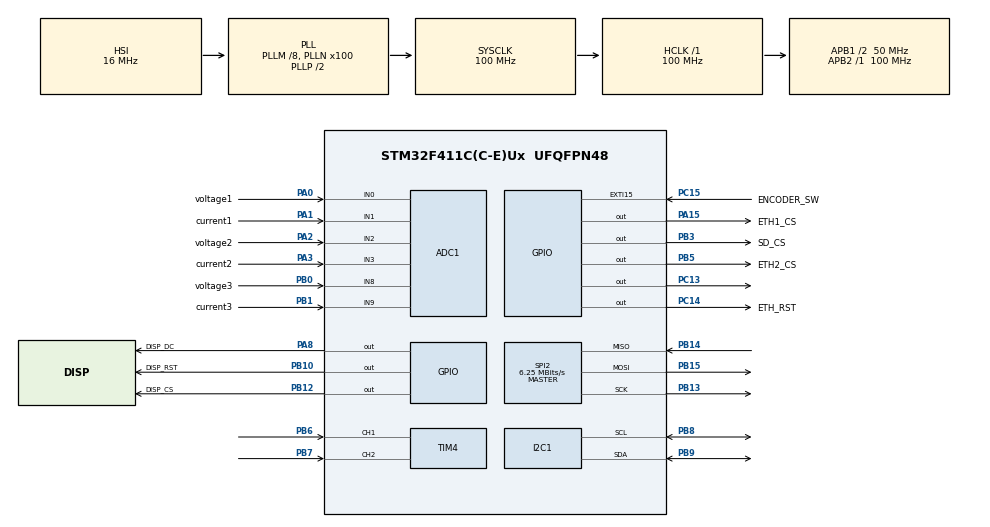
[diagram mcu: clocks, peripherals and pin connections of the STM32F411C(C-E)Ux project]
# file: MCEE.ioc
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ADC1.Channel-1\#ChannelRegularConversion=ADC_CHANNEL_0
ADC1.Channel-10\#ChannelRegularConversion=ADC_CHANNEL_9
ADC1.Channel-6\#ChannelRegularConversion=ADC_CHANNEL_1
ADC1.Channel-7\#ChannelRegularConversion=ADC_CHANNEL_2
ADC1.Channel-8\#ChannelRegularConversion=ADC_CHANNEL_3
ADC1.Channel-9\#ChannelRegularConversion=ADC_CHANNEL_8
ADC1.ContinuousConvMode=DISABLE
ADC1.DMAContinuousRequests=ENABLE
ADC1.ExternalTrigConv=ADC_EXTERNALTRIGCONV_T3_TRGO
ADC1.InjNumberOfConversion=0
ADC1.NbrOfConversion=6
ADC1.NbrOfConversionFlag=1
ADC1.Rank-1\#ChannelRegularConversion=1
ADC1.Rank-10\#ChannelRegularConversion=6
ADC1.Rank-6\#ChannelRegularConversion=2
ADC1.Rank-7\#ChannelRegularConversion=3
ADC1.Rank-8\#ChannelRegularConversion=4
ADC1.Rank-9\#ChannelRegularConversion=5
ADC1.SamplingTime-1\#ChannelRegularConversion=ADC_SAMPLETIME_84CYCLES
ADC1.SamplingTime-10\#ChannelRegularConversion=ADC_SAMPLETIME_84CYCLES
ADC1.SamplingTime-6\#ChannelRegularConversion=ADC_SAMPLETIME_84CYCLES
ADC1.SamplingTime-7\#ChannelRegularConversion=ADC_SAMPLETIME_84CYCLES
ADC1.SamplingTime-8\#ChannelRegularConversion=ADC_SAMPLETIME_84CYCLES
ADC1.SamplingTime-9\#ChannelRegularConversion=ADC_SAMPLETIME_84CYCLES
ADC1.ScanConvMode=ENABLE
ADC1.master=1
Dma.ADC1.0.Direction=DMA_PERIPH_TO_MEMORY
Dma.ADC1.0.FIFOMode=DMA_FIFOMODE_DISABLE
Dma.ADC1.0.Instance=DMA2_Stream0
Dma.ADC1.0.MemDataAlignment=DMA_MDATAALIGN_HALFWORD
Dma.ADC1.0.MemInc=DMA_MINC_ENABLE
Dma.ADC1.0.Mode=DMA_CIRCULAR
Dma.ADC1.0.PeriphDataAlignment=DMA_PDATAALIGN_HALFWORD
Dma.ADC1.0.PeriphInc=DMA_PINC_DISABLE
Dma.ADC1.0.Priority=DMA_PRIORITY_HIGH
Dma.Request0=ADC1
Dma.Request1=SPI2_TX
Dma.SPI2_TX.1.Direction=DMA_MEMORY_TO_PERIPH
Dma.SPI2_TX.1.FIFOMode=DMA_FIFOMODE_DISABLE
Dma.SPI2_TX.1.Instance=DMA1_Stream4
Dma.SPI2_TX.1.MemDataAlignment=DMA_MDATAALIGN_BYTE
Dma.SPI2_TX.1.MemInc=DMA_MINC_ENABLE
Dma.SPI2_TX.1.Mode=DMA_NORMAL
Dma.SPI2_TX.1.PeriphDataAlignment=DMA_PDATAALIGN_BYTE
Dma.SPI2_TX.1.PeriphInc=DMA_PINC_DISABLE
Dma.SPI2_TX.1.Priority=DMA_PRIORITY_HIGH
Mcu.Family=STM32F4
Mcu.Name=STM32F411C(C-E)Ux
Mcu.Package=UFQFPN48
NVIC.DMA1_Stream4_IRQn=true\:0\:0\:false\:false\:true\:false\:true\:true
NVIC.DMA2_Stream0_IRQn=true\:0\:0\:false\:false\:true\:false\:true\:true
NVIC.EXTI15_10_IRQn=true\:0\:0\:false\:false\:true\:true\:true\:true
NVIC.PriorityGroup=NVIC_PRIORITYGROUP_4
NVIC.SPI2_IRQn=true\:0\:0\:false\:false\:true\:true\:true\:true
PA0-WKUP.GPIO_Label=voltage1
PA0-WKUP.Signal=ADCx_IN0
PA1.GPIO_Label=current1
PA1.Signal=ADCx_IN1
PA13.Mode=Serial_Wire
PA13.Signal=SYS_JTMS-SWDIO
PA14.Mode=Serial_Wire
PA14.Signal=SYS_JTCK-SWCLK
PA15.GPIO_Label=ETH1_CS
PA15.PinState=GPIO_PIN_SET
PA15.Signal=GPIO_Output
PA2.GPIO_Label=voltage2
PA2.Signal=ADCx_IN2
PA3.GPIO_Label=current2
PA3.Signal=ADCx_IN3
PA8.GPIO_Label=DISP_DC
PA8.Signal=GPIO_Output
PB0.GPIO_Label=voltage3
PB0.Signal=ADCx_IN8
PB1.GPIO_Label=current3
PB1.Signal=ADCx_IN9
PB10.GPIO_Label=DISP_RST
PB10.PinState=GPIO_PIN_SET
PB10.Signal=GPIO_Output
PB12.GPIO_Label=DISP_CS
PB12.PinState=GPIO_PIN_SET
PB12.Signal=GPIO_Output
PB13.Mode=Full_Duplex_Master
PB13.Signal=SPI2_SCK
PB14.Mode=Full_Duplex_Master
PB14.Signal=SPI2_MISO
PB15.Mode=Full_Duplex_Master
PB15.Signal=SPI2_MOSI
PB3.GPIO_Label=SD_CS
PB3.PinState=GPIO_PIN_SET
PB3.Signal=GPIO_Output
PB5.GPIO_Label=ETH2_CS
PB5.PinState=GPIO_PIN_SET
PB5.Signal=GPIO_Output
PB6.GPIO_PuPd=GPIO_NOPULL
PB6.Signal=S_TIM4_CH1
PB7.GPIO_PuPd=GPIO_NOPULL
PB7.Signal=S_TIM4_CH2
PB8.Mode=I2C
PB8.Signal=I2C1_SCL
PB9.Mode=I2C
PB9.Signal=I2C1_SDA
PC13-ANTI_TAMP.Signal=GPIO_Output
PC14-OSC32_IN.GPIO_Label=ETH_RST
PC14-OSC32_IN.PinState=GPIO_PIN_SET
PC14-OSC32_IN.Signal=GPIO_Output
PC15-OSC32_OUT.GPIO_Label=ENCODER_SW
PC15-OSC32_OUT.GPIO_ModeDefaultEXTI=GPIO_MODE_IT_FALLING
PC15-OSC32_OUT.GPIO_PuPd=GPIO_PULLUP
PC15-OSC32_OUT.Signal=GPXTI15
PH0\ -\ OSC_IN.Mode=HSE-External-Oscillator
PH0\ -\ OSC_IN.Signal=RCC_OSC_IN
PH1\ -\ OSC_OUT.Mode=HSE-External-Oscillator
PH1\ -\ OSC_OUT.Signal=RCC_OSC_OUT
ProjectManager.HeapSize=0x400
ProjectManager.StackSize=0x2000
ProjectManager.TargetToolchain=STM32CubeIDE
RCC.48MHZClocksFreq_Value=50000000
RCC.AHBFreq_Value=100000000
RCC.APB1CLKDivider=RCC_HCLK_DIV2
RCC.APB1Freq_Value=50000000
RCC.APB1TimFreq_Value=100000000
RCC.APB2Freq_Value=100000000
RCC.APB2TimFreq_Value=100000000
RCC.CortexFreq_Value=100000000
RCC.HCLKFreq_Value=100000000
RCC.HSE_VALUE=25000000
RCC.HSI_VALUE=16000000
RCC.LSE_VALUE=32768
RCC.PLLM=8
RCC.PLLN=100
RCC.SYSCLKFreq_VALUE=100000000
RCC.SYSCLKSource=RCC_SYSCLKSOURCE_PLLCLK
RCC.VCOOutputFreq_Value=200000000
SH.ADCx_IN0.0=ADC1_IN0,IN0
SH.ADCx_IN1.0=ADC1_IN1,IN1
SH.ADCx_IN2.0=ADC1_IN2,IN2
SH.ADCx_IN3.0=ADC1_IN3,IN3
SH.ADCx_IN8.0=ADC1_IN8,IN8
SH.ADCx_IN9.0=ADC1_IN9,IN9
SH.S_TIM4_CH1.0=TIM4_CH1,Encoder_Interface
SH.S_TIM4_CH2.0=TIM4_CH2,Encoder_Interface
SPI2.BaudRatePrescaler=SPI_BAUDRATEPRESCALER_8
SPI2.CalculateBaudRate=6.25 MBits/s
SPI2.Direction=SPI_DIRECTION_2LINES
SPI2.Mode=SPI_MODE_MASTER
SPI2.VirtualType=VM_MASTER
TIM3.Period=199
TIM3.Prescaler=99
TIM3.TIM_MasterOutputTrigger=TIM_TRGO_UPDATE
TIM4.EncoderMode=TIM_ENCODERMODE_TI12
TIM4.IC1Filter=15
TIM4.IC2Filter=15
VP_TIM3_VS_ClockSourceINT.Mode=Internal
board=custom

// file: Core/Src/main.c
/* USER CODE BEGIN Header */
/**
  ******************************************************************************
  * @file           : main.c
  * @brief          : Main program body
  ******************************************************************************
  * @attention
  *
  * Copyright (c) 2026 STMicroelectronics.
  * All rights reserved.
  *
  * This software is licensed under terms that can be found in the LICENSE file
  * in the root directory of this software component.
  * If no LICENSE file comes with this software, it is provided AS-IS.
  *
  ******************************************************************************
  */
/* USER CODE END Header */
#include "main.h"

/* USER CODE BEGIN Includes */
#include "signals.h"
#include "acquisition.h"
#include "processing.h"
#include "encoder.h"
#include "lvgl/lvgl.h"
#include "lvgl_port.h"
#include "gui.h"
#include "sd_card.h"
#include "i2c_devices.h"
#include "settings.h"
#include "test_logger.h"
#include "splash.h"

/* USER CODE END Includes */

ADC_HandleTypeDef hadc1;
DMA_HandleTypeDef hdma_adc1;

I2C_HandleTypeDef hi2c1;

SPI_HandleTypeDef hspi2;
DMA_HandleTypeDef hdma_spi2_tx;

TIM_HandleTypeDef htim3;
TIM_HandleTypeDef htim4;

void SystemClock_Config(void);
static void MX_GPIO_Init(void);
static void MX_DMA_Init(void);
static void MX_ADC1_Init(void);
static void MX_TIM3_Init(void);
static void MX_I2C1_Init(void);
static void MX_SPI2_Init(void);
static void MX_TIM4_Init(void);

int main(void)
{

  /* MCU Configuration--------------------------------------------------------*/

  /* Reset of all peripherals, Initializes the Flash interface and the Systick. */
  HAL_Init();

  /* Configure the system clock */
  SystemClock_Config();

  /* Initialize all configured peripherals */
  MX_GPIO_Init();
  MX_DMA_Init();
  MX_ADC1_Init();
  MX_TIM3_Init();
  MX_I2C1_Init();
  MX_SPI2_Init();
  MX_TIM4_Init();
  /* USER CODE BEGIN 2 */
  Encoder_Init();
  LvglPort_Init();
  Splash_Show();
  Gui_Init();
  DS3231_Init();
  Settings_Init();
  Splash_Finish();
  TestLogger_Init();
  /* primera pantalla completa, antes de arrancar el ADC */
  lv_refr_now(NULL);

  __HAL_DBGMCU_FREEZE_TIM3();   /* el muestreo se detiene mientras el depurador pausa */
  HAL_TIM_Base_Start_IT(&htim3);
  HAL_ADC_Start_DMA(&hadc1, (uint32_t*)adc_buffer, ADC_CHANNELS * DMA_BUFFER_SAMPLES);
  /* USER CODE END 2 */

  /* Infinite loop */
  /* USER CODE BEGIN WHILE */
  while (1)
  {
	  ProcessPendingBuffers();
	  lv_timer_handler();
	  TestLogger_Process();
    /* USER CODE END WHILE */

  }
}

void SystemClock_Config(void)
{
  RCC_OscInitTypeDef RCC_OscInitStruct = {0};
  RCC_ClkInitTypeDef RCC_ClkInitStruct = {0};

  /** Configure the main internal regulator output voltage
  */
  __HAL_RCC_PWR_CLK_ENABLE();
  __HAL_PWR_VOLTAGESCALING_CONFIG(PWR_REGULATOR_VOLTAGE_SCALE1);

  /** Initializes the RCC Oscillators according to the specified parameters
  * in the RCC_OscInitTypeDef structure.
  */
  RCC_OscInitStruct.OscillatorType = RCC_OSCILLATORTYPE_HSI;
  RCC_OscInitStruct.HSIState = RCC_HSI_ON;
  RCC_OscInitStruct.HSICalibrationValue = RCC_HSICALIBRATION_DEFAULT;
  RCC_OscInitStruct.PLL.PLLState = RCC_PLL_ON;
  RCC_OscInitStruct.PLL.PLLSource = RCC_PLLSOURCE_HSI;
  RCC_OscInitStruct.PLL.PLLM = 8;
  RCC_OscInitStruct.PLL.PLLN = 100;
  RCC_OscInitStruct.PLL.PLLP = RCC_PLLP_DIV2;
  RCC_OscInitStruct.PLL.PLLQ = 4;
  if (HAL_RCC_OscConfig(&RCC_OscInitStruct) != HAL_OK)
  {
    Error_Handler();
  }

  /** Initializes the CPU, AHB and APB buses clocks
  */
  RCC_ClkInitStruct.ClockType = RCC_CLOCKTYPE_HCLK|RCC_CLOCKTYPE_SYSCLK
                              |RCC_CLOCKTYPE_PCLK1|RCC_CLOCKTYPE_PCLK2;
  RCC_ClkInitStruct.SYSCLKSource = RCC_SYSCLKSOURCE_PLLCLK;
  RCC_ClkInitStruct.AHBCLKDivider = RCC_SYSCLK_DIV1;
  RCC_ClkInitStruct.APB1CLKDivider = RCC_HCLK_DIV2;
  RCC_ClkInitStruct.APB2CLKDivider = RCC_HCLK_DIV1;

  if (HAL_RCC_ClockConfig(&RCC_ClkInitStruct, FLASH_LATENCY_3) != HAL_OK)
  {
    Error_Handler();
  }
}

static void MX_ADC1_Init(void)
{

  ADC_ChannelConfTypeDef sConfig = {0};

  /** Configure the global features of the ADC (Clock, Resolution, Data Alignment and number of conversion)
  */
  hadc1.Instance = ADC1;
  hadc1.Init.ClockPrescaler = ADC_CLOCK_SYNC_PCLK_DIV4;
  hadc1.Init.Resolution = ADC_RESOLUTION_12B;
  hadc1.Init.ScanConvMode = ENABLE;
  hadc1.Init.ContinuousConvMode = DISABLE;
  hadc1.Init.DiscontinuousConvMode = DISABLE;
  hadc1.Init.ExternalTrigConvEdge = ADC_EXTERNALTRIGCONVEDGE_RISING;
  hadc1.Init.ExternalTrigConv = ADC_EXTERNALTRIGCONV_T3_TRGO;
  hadc1.Init.DataAlign = ADC_DATAALIGN_RIGHT;
  hadc1.Init.NbrOfConversion = 6;
  hadc1.Init.DMAContinuousRequests = ENABLE;
  hadc1.Init.EOCSelection = ADC_EOC_SINGLE_CONV;
  if (HAL_ADC_Init(&hadc1) != HAL_OK)
  {
    Error_Handler();
  }

  /** Configure for the selected ADC regular channel its corresponding rank in the sequencer and its sample time.
  */
  sConfig.Channel = ADC_CHANNEL_0;
  sConfig.Rank = 1;
  sConfig.SamplingTime = ADC_SAMPLETIME_84CYCLES;
  if (HAL_ADC_ConfigChannel(&hadc1, &sConfig) != HAL_OK)
  {
    Error_Handler();
  }

  /** Configure for the selected ADC regular channel its corresponding rank in the sequencer and its sample time.
  */
  sConfig.Channel = ADC_CHANNEL_1;
  sConfig.Rank = 2;
  if (HAL_ADC_ConfigChannel(&hadc1, &sConfig) != HAL_OK)
  {
    Error_Handler();
  }

  /** Configure for the selected ADC regular channel its corresponding rank in the sequencer and its sample time.
  */
  sConfig.Channel = ADC_CHANNEL_2;
  sConfig.Rank = 3;
  if (HAL_ADC_ConfigChannel(&hadc1, &sConfig) != HAL_OK)
  {
    Error_Handler();
  }

  /** Configure for the selected ADC regular channel its corresponding rank in the sequencer and its sample time.
  */
  sConfig.Channel = ADC_CHANNEL_3;
  sConfig.Rank = 4;
  if (HAL_ADC_ConfigChannel(&hadc1, &sConfig) != HAL_OK)
  {
    Error_Handler();
  }

  /** Configure for the selected ADC regular channel its corresponding rank in the sequencer and its sample time.
  */
  sConfig.Channel = ADC_CHANNEL_8;
  sConfig.Rank = 5;
  if (HAL_ADC_ConfigChannel(&hadc1, &sConfig) != HAL_OK)
  {
    Error_Handler();
  }

  /** Configure for the selected ADC regular channel its corresponding rank in the sequencer and its sample time.
  */
  sConfig.Channel = ADC_CHANNEL_9;
  sConfig.Rank = 6;
  if (HAL_ADC_ConfigChannel(&hadc1, &sConfig) != HAL_OK)
  {
    Error_Handler();
  }

}

static void MX_I2C1_Init(void)
{

  hi2c1.Instance = I2C1;
  hi2c1.Init.ClockSpeed = 100000;
  hi2c1.Init.DutyCycle = I2C_DUTYCYCLE_2;
  hi2c1.Init.OwnAddress1 = 0;
  hi2c1.Init.AddressingMode = I2C_ADDRESSINGMODE_7BIT;
  hi2c1.Init.DualAddressMode = I2C_DUALADDRESS_DISABLE;
  hi2c1.Init.OwnAddress2 = 0;
  hi2c1.Init.GeneralCallMode = I2C_GENERALCALL_DISABLE;
  hi2c1.Init.NoStretchMode = I2C_NOSTRETCH_DISABLE;
  if (HAL_I2C_Init(&hi2c1) != HAL_OK)
  {
    Error_Handler();
  }

}

static void MX_SPI2_Init(void)
{

  /* SPI2 parameter configuration*/
  hspi2.Instance = SPI2;
  hspi2.Init.Mode = SPI_MODE_MASTER;
  hspi2.Init.Direction = SPI_DIRECTION_2LINES;
  hspi2.Init.DataSize = SPI_DATASIZE_8BIT;
  hspi2.Init.CLKPolarity = SPI_POLARITY_LOW;
  hspi2.Init.CLKPhase = SPI_PHASE_1EDGE;
  hspi2.Init.NSS = SPI_NSS_SOFT;
  hspi2.Init.BaudRatePrescaler = SPI_BAUDRATEPRESCALER_8;
  hspi2.Init.FirstBit = SPI_FIRSTBIT_MSB;
  hspi2.Init.TIMode = SPI_TIMODE_DISABLE;
  hspi2.Init.CRCCalculation = SPI_CRCCALCULATION_DISABLE;
  hspi2.Init.CRCPolynomial = 10;
  if (HAL_SPI_Init(&hspi2) != HAL_OK)
  {
    Error_Handler();
  }

}

static void MX_TIM3_Init(void)
{

  TIM_ClockConfigTypeDef sClockSourceConfig = {0};
  TIM_MasterConfigTypeDef sMasterConfig = {0};

  htim3.Instance = TIM3;
  htim3.Init.Prescaler = 99;
  htim3.Init.CounterMode = TIM_COUNTERMODE_UP;
  htim3.Init.Period = 199;
  htim3.Init.ClockDivision = TIM_CLOCKDIVISION_DIV1;
  htim3.Init.AutoReloadPreload = TIM_AUTORELOAD_PRELOAD_DISABLE;
  if (HAL_TIM_Base_Init(&htim3) != HAL_OK)
  {
    Error_Handler();
  }
  sClockSourceConfig.ClockSource = TIM_CLOCKSOURCE_INTERNAL;
  if (HAL_TIM_ConfigClockSource(&htim3, &sClockSourceConfig) != HAL_OK)
  {
    Error_Handler();
  }
  sMasterConfig.MasterOutputTrigger = TIM_TRGO_UPDATE;
  sMasterConfig.MasterSlaveMode = TIM_MASTERSLAVEMODE_DISABLE;
  if (HAL_TIMEx_MasterConfigSynchronization(&htim3, &sMasterConfig) != HAL_OK)
  {
    Error_Handler();
  }

}

static void MX_TIM4_Init(void)
{

  TIM_Encoder_InitTypeDef sConfig = {0};
  TIM_MasterConfigTypeDef sMasterConfig = {0};

  htim4.Instance = TIM4;
  htim4.Init.Prescaler = 0;
  htim4.Init.CounterMode = TIM_COUNTERMODE_UP;
  htim4.Init.Period = 65535;
  htim4.Init.ClockDivision = TIM_CLOCKDIVISION_DIV1;
  htim4.Init.AutoReloadPreload = TIM_AUTORELOAD_PRELOAD_DISABLE;
  sConfig.EncoderMode = TIM_ENCODERMODE_TI12;
  sConfig.IC1Polarity = TIM_ICPOLARITY_RISING;
  sConfig.IC1Selection = TIM_ICSELECTION_DIRECTTI;
  sConfig.IC1Prescaler = TIM_ICPSC_DIV1;
  sConfig.IC1Filter = 15;
  sConfig.IC2Polarity = TIM_ICPOLARITY_RISING;
  sConfig.IC2Selection = TIM_ICSELECTION_DIRECTTI;
  sConfig.IC2Prescaler = TIM_ICPSC_DIV1;
  sConfig.IC2Filter = 15;
  if (HAL_TIM_Encoder_Init(&htim4, &sConfig) != HAL_OK)
  {
    Error_Handler();
  }
  sMasterConfig.MasterOutputTrigger = TIM_TRGO_RESET;
  sMasterConfig.MasterSlaveMode = TIM_MASTERSLAVEMODE_DISABLE;
  if (HAL_TIMEx_MasterConfigSynchronization(&htim4, &sMasterConfig) != HAL_OK)
  {
    Error_Handler();
  }

}

static void MX_DMA_Init(void)
{

  /* DMA controller clock enable */
  __HAL_RCC_DMA2_CLK_ENABLE();
  __HAL_RCC_DMA1_CLK_ENABLE();

  /* DMA interrupt init */
  /* DMA1_Stream4_IRQn interrupt configuration */
  HAL_NVIC_SetPriority(DMA1_Stream4_IRQn, 0, 0);
  HAL_NVIC_EnableIRQ(DMA1_Stream4_IRQn);
  /* DMA2_Stream0_IRQn interrupt configuration */
  HAL_NVIC_SetPriority(DMA2_Stream0_IRQn, 0, 0);
  HAL_NVIC_EnableIRQ(DMA2_Stream0_IRQn);

}

static void MX_GPIO_Init(void)
{
  GPIO_InitTypeDef GPIO_InitStruct = {0};

  /* GPIO Ports Clock Enable */
  __HAL_RCC_GPIOC_CLK_ENABLE();
  __HAL_RCC_GPIOH_CLK_ENABLE();
  __HAL_RCC_GPIOA_CLK_ENABLE();
  __HAL_RCC_GPIOB_CLK_ENABLE();

  /*Configure GPIO pin Output Level */
  HAL_GPIO_WritePin(GPIOC, GPIO_PIN_13, GPIO_PIN_RESET);

  /*Configure GPIO pin Output Level */
  HAL_GPIO_WritePin(ETH_RST_GPIO_Port, ETH_RST_Pin, GPIO_PIN_SET);

  /*Configure GPIO pin Output Level */
  HAL_GPIO_WritePin(GPIOB, DISP_RST_Pin|DISP_CS_Pin|SD_CS_Pin|ETH2_CS_Pin, GPIO_PIN_SET);

  /*Configure GPIO pin Output Level */
  HAL_GPIO_WritePin(DISP_DC_GPIO_Port, DISP_DC_Pin, GPIO_PIN_RESET);

  /*Configure GPIO pin Output Level */
  HAL_GPIO_WritePin(ETH1_CS_GPIO_Port, ETH1_CS_Pin, GPIO_PIN_SET);

  /*Configure GPIO pins : PC13 ETH_RST_Pin */
  GPIO_InitStruct.Pin = GPIO_PIN_13|ETH_RST_Pin;
  GPIO_InitStruct.Mode = GPIO_MODE_OUTPUT_PP;
  GPIO_InitStruct.Pull = GPIO_NOPULL;
  GPIO_InitStruct.Speed = GPIO_SPEED_FREQ_LOW;
  HAL_GPIO_Init(GPIOC, &GPIO_InitStruct);

  /*Configure GPIO pin : ENCODER_SW_Pin */
  GPIO_InitStruct.Pin = ENCODER_SW_Pin;
  GPIO_InitStruct.Mode = GPIO_MODE_IT_FALLING;
  GPIO_InitStruct.Pull = GPIO_PULLUP;
  HAL_GPIO_Init(ENCODER_SW_GPIO_Port, &GPIO_InitStruct);

  /*Configure GPIO pins : DISP_RST_Pin DISP_CS_Pin SD_CS_Pin ETH2_CS_Pin */
  GPIO_InitStruct.Pin = DISP_RST_Pin|DISP_CS_Pin|SD_CS_Pin|ETH2_CS_Pin;
  GPIO_InitStruct.Mode = GPIO_MODE_OUTPUT_PP;
  GPIO_InitStruct.Pull = GPIO_NOPULL;
  GPIO_InitStruct.Speed = GPIO_SPEED_FREQ_LOW;
  HAL_GPIO_Init(GPIOB, &GPIO_InitStruct);

  /*Configure GPIO pins : DISP_DC_Pin ETH1_CS_Pin */
  GPIO_InitStruct.Pin = DISP_DC_Pin|ETH1_CS_Pin;
  GPIO_InitStruct.Mode = GPIO_MODE_OUTPUT_PP;
  GPIO_InitStruct.Pull = GPIO_NOPULL;
  GPIO_InitStruct.Speed = GPIO_SPEED_FREQ_LOW;
  HAL_GPIO_Init(GPIOA, &GPIO_InitStruct);

  /* EXTI interrupt init*/
  HAL_NVIC_SetPriority(EXTI15_10_IRQn, 0, 0);
  HAL_NVIC_EnableIRQ(EXTI15_10_IRQn);

}

void Error_Handler(void)
{
  __disable_irq();
  while (1)
  {
  }
}
